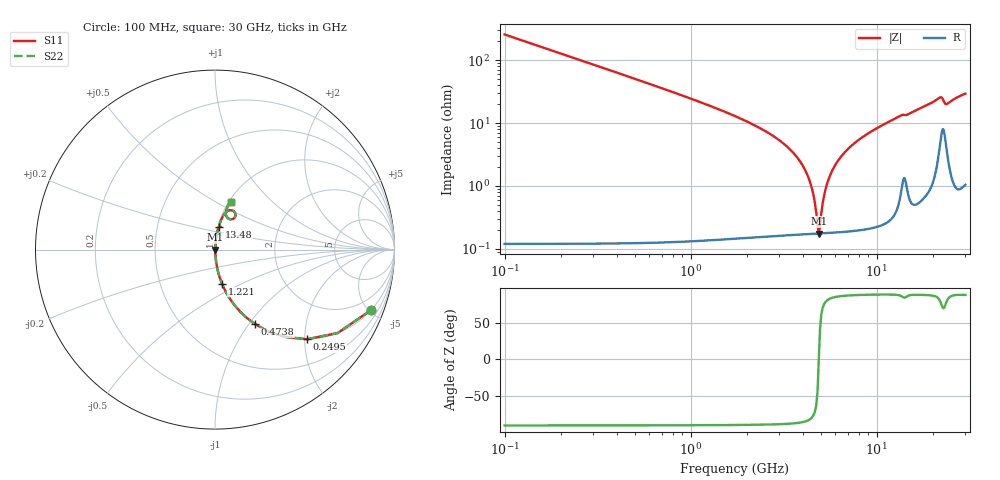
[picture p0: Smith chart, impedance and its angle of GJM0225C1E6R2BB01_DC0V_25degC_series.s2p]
!Murata Part Number: GJM0225C1E6R2BB01
!These Parameters are Measured in Series Mode Connection
!  o--ll--o
!Port1  Port2
!  o------o
!Operation Temp=25[degC], DC Bias Voltage=0[V]
!Freq. Start=100[MHz] Stop=30[GHz], 401[Steps]
!Data Generated on Feb 1, 2023
# Hz S RI R 50
!Freq.(Hz) S11(Real) S11(Imag) S21(Real) S21(Imag) S12(Real) S12(Imag) S22(Real) S22(Imag)
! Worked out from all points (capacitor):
!   401 points, 100 MHz to 30 GHz, reference 50 ohm
!   read as one part in series: C = 6.2 pF near 249.5 MHz
!   lowest |Z| = 176 mohm at 4.884 GHz (marker M1)
!   series resonance near 4.889 GHz, so ESL is about 170 pH
!   S11 on the Smith chart (normalised r, x): 100 MHz: 1.00, -5.13; 249.5 MHz: 1.00, -2.05; 473.8 MHz: 1.00, -1.07; 1.221 GHz: 1.00, -0.39; 13.48 GHz: 1.01, +0.26; 30 GHz: 1.02, +0.59
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1e8  0.868 -0.3382  0.132 0.3382  0.132 0.3382  0.868 -0.3382
2.495e8  0.5129 -0.4992  0.4871 0.4992  0.4871 0.4992  0.5129 -0.4992
4.7375e8  0.2241 -0.4159  0.7759 0.4159  0.7759 0.4159  0.2241 -0.4159
7.7275e8  0.0958 -0.2924  0.9042 0.2924  0.9042 0.2924  0.0958 -0.2924
1.22125e9  0.0385 -0.1891  0.9615 0.1891  0.9615 0.1891  0.0385 -0.1891
3.91225e9  0.00224 -0.0235  0.9978 0.0235  0.9978 0.0235  0.00224 -0.0235
4.4355e9  0.00183 -0.0102  0.9982 0.0102  0.9982 0.0102  0.00183 -0.0102
4.7345e9  0.00175 -0.00336  0.9982 0.00336  0.9982 0.00336  0.00175 -0.00336
4.884e9  0.00175 -0.000109  0.9982 0.000109  0.9982 0.000109  0.00175 -0.000109
5.10825e9  0.00179 0.00459  0.9982 -0.00459  0.9982 -0.00459  0.00179 0.00459
5.3325e9  0.00186 0.00909  0.9981 -0.00909  0.9981 -0.00909  0.00186 0.00909
5.55675e9  0.00197 0.0134  0.998 -0.0134  0.998 -0.0134  0.00197 0.0134
6.45375e9  0.00272 0.0294  0.9973 -0.0294  0.9973 -0.0294  0.00272 0.0294
7.874e9  0.00465 0.0518  0.9953 -0.0518  0.9953 -0.0518  0.00465 0.0518
1.01165e10  0.00925 0.0833  0.9907 -0.0833  0.9907 -0.0833  0.00925 0.0833
1.348025e10  0.0241 0.1278  0.9759 -0.1278  0.9759 -0.1278  0.0241 0.1278
1.505e10  0.0255 0.1379  0.9745 -0.1379  0.9745 -0.1379  0.0255 0.1379
2.005825e10  0.0543 0.2018  0.9457 -0.2018  0.9457 -0.2018  0.0543 0.2018
2.2525e10  0.1142 0.1957  0.8858 -0.1957  0.8858 -0.1957  0.1142 0.1957
2.349675e10  0.079 0.1706  0.921 -0.1706  0.921 -0.1706  0.079 0.1706
2.50665e10  0.0601 0.2062  0.9399 -0.2062  0.9399 -0.2062  0.0601 0.2062
3e10  0.0876 0.2654  0.9124 -0.2654  0.9124 -0.2654  0.0876 0.2654
